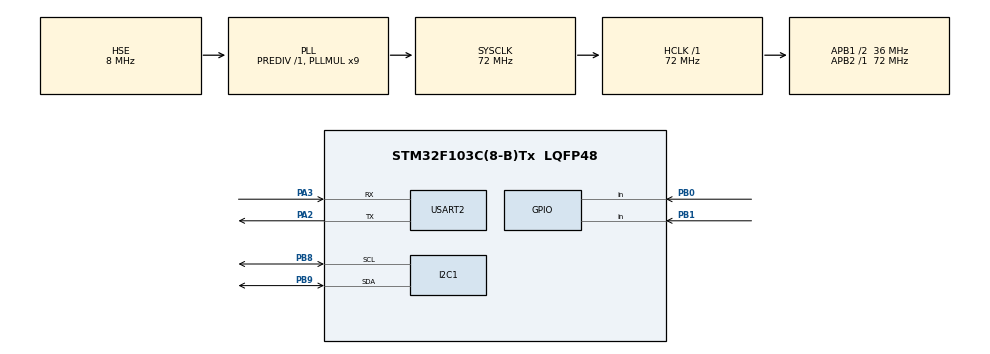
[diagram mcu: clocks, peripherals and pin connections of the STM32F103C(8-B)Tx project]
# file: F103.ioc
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Mcu.Family=STM32F1
Mcu.Name=STM32F103C(8-B)Tx
Mcu.Package=LQFP48
NVIC.I2C1_ER_IRQn=true\:0\:0\:false\:false\:true\:true\:true
NVIC.I2C1_EV_IRQn=true\:0\:0\:false\:false\:true\:true\:true
NVIC.PriorityGroup=NVIC_PRIORITYGROUP_4
NVIC.USART2_IRQn=true\:1\:0\:true\:false\:true\:true\:true
PA13.Mode=Serial_Wire
PA13.Signal=SYS_JTMS-SWDIO
PA14.Mode=Serial_Wire
PA14.Signal=SYS_JTCK-SWCLK
PA15.Signal=S_TIM2_CH1_ETR
PA2.Mode=Asynchronous
PA2.Signal=USART2_TX
PA3.Mode=Asynchronous
PA3.Signal=USART2_RX
PA8.Signal=S_TIM1_CH1
PB0.GPIO_PuPd=GPIO_PULLDOWN
PB0.Signal=GPIO_Input
PB1.GPIO_PuPd=GPIO_PULLDOWN
PB1.Signal=GPIO_Input
PB8.Mode=I2C
PB8.Signal=I2C1_SCL
PB9.Mode=I2C
PB9.Signal=I2C1_SDA
PD0-OSC_IN.Mode=HSE-External-Oscillator
PD0-OSC_IN.Signal=RCC_OSC_IN
PD1-OSC_OUT.Mode=HSE-External-Oscillator
PD1-OSC_OUT.Signal=RCC_OSC_OUT
ProjectManager.HeapSize=0x200
ProjectManager.StackSize=0x400
ProjectManager.TargetToolchain=MDK-ARM V5
RCC.AHBFreq_Value=72000000
RCC.APB1CLKDivider=RCC_HCLK_DIV2
RCC.APB1Freq_Value=36000000
RCC.APB1TimFreq_Value=72000000
RCC.APB2Freq_Value=72000000
RCC.APB2TimFreq_Value=72000000
RCC.HCLKFreq_Value=72000000
RCC.PLLMUL=RCC_PLL_MUL9
RCC.PLLSourceVirtual=RCC_PLLSOURCE_HSE
RCC.SYSCLKFreq_VALUE=72000000
RCC.SYSCLKSource=RCC_SYSCLKSOURCE_PLLCLK
RCC.USBFreq_Value=72000000
SH.S_TIM1_CH1.0=TIM1_CH1
SH.S_TIM2_CH1_ETR.0=TIM2_CH1
TIM1.Period=1000
TIM1.Prescaler=71
TIM2.Period=1000
TIM2.Prescaler=71
USART2.VirtualMode=VM_ASYNC
VP_TIM1_VS_ClockSourceINT.Mode=Internal
VP_TIM2_VS_ClockSourceINT.Mode=Internal
board=custom

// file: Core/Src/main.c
/* USER CODE BEGIN Header */
/**
  ******************************************************************************
  * @file           : main.c
  * @brief          : Main program body
  ******************************************************************************
  * @attention
  *
  * <h2><center>&copy; Copyright (c) 2020 STMicroelectronics.
  * All rights reserved.</center></h2>
  *
  * This software component is licensed by ST under BSD 3-Clause license,
  * the "License"; You may not use this file except in compliance with the
  * License. You may obtain a copy of the License at:
  *                        opensource.org/licenses/BSD-3-Clause
  *
  ******************************************************************************
  */
/* USER CODE END Header */
#include "main.h"
#include "i2c.h"
#include "tim.h"
#include "usart.h"
#include "gpio.h"
#include "mpu9250.h"

void SystemClock_Config(void);

/* USER CODE BEGIN 0 */
MPU9250 mpu9250;
int debug = 1;
/* USER CODE END 0 */

int main(void)
{

  /* MCU Configuration--------------------------------------------------------*/

  /* Reset of all peripherals, Initializes the Flash interface and the Systick. */
  HAL_Init();

  /* Configure the system clock */
  SystemClock_Config();

  /* Initialize all configured peripherals */
  MX_GPIO_Init();
  MX_I2C1_Init();
  MX_TIM1_Init();
  MX_TIM2_Init();
  MX_USART2_UART_Init();
  /* USER CODE BEGIN 2 */

	uint8_t whoami=mpu9250.readByte(MPU9250_ADDRESS,WHO_AM_I_MPU9250);

	if(whoami==0x71) //WHO_AM_I should always be 0x68
	{
		HAL_Delay(100);

		mpu9250.resetMPU9250();	//reset registers to default status
		mpu9250.calibrateMPU9250(gyroBias,accelBias);
		HAL_Delay(200);
		mpu9250.initMPU9250();
		mpu9250.initAK8963(magCalibration);
		HAL_Delay(50);
	}
	else
	{
		while(1); //loop forever if communication doesn't work
	}
		mpu9250.getAres();	//get accelerometer sensitivity
		mpu9250.getGres();	//get gyro sensitivity
		mpu9250.getMres();	//get magnetometer sensitivity

		magbias[0]=+470.;		//user environmental x-axis
		magbias[1]=+120.;		//user environmental x-axis
		magbias[2]=+125.;		//user environmental x-axis

	//MPU9250_Init();

  /* USER CODE END 2 */

  /* Infinite loop */
  /* USER CODE BEGIN WHILE */
	debug = 2;
	static int t = 0;
  while (1)
  {
    /* USER CODE END WHILE */
	if(mpu9250.readByte(MPU9250_ADDRESS,INT_STATUS) & 0x01)		//on interrupt, check if data ready interrupt
	{
		mpu9250.readAccelData(accelCount);  //read the x/y/z adc values

		// now we need to calculate the acceleration value into actual value
		ax=(float) accelCount[0]*aRes;
		ay=(float) accelCount[1]*aRes;
		az=(float) accelCount[2]*aRes;

		mpu9250.readGyroData(gyroCount);	//read the x/y/z adc values

		//calculate the gyro value into actual degrees per second
		gx=(float) gyroCount[0]*gRes;
		gy=(float) gyroCount[1]*gRes;
		gz=(float) gyroCount[2]*gRes;

		mpu9250.readMagData(magCount);	//read the x/y/z adc values

		//calculate the magnetometer values in milliGuass
		mx=(float)magCount[0]*mRes*magCalibration[0];
		my=(float)magCount[1]*mRes*magCalibration[1];
		mz=(float)magCount[2]*mRes*magCalibration[2];

		deltat=0.005;
		mpu9250.MahonyQuaternionUpdate(ax,ay,az,gx*PI/180.0f,gy*PI/180.0f,gz*PI/180.0f,mx,my,mz);

		//
		yaw  = atan2(2.0f*(q[1]*q[2]+q[0]*q[3]),q[0]*q[0]+q[1]*q[1]-q[2]*q[2]-q[3]*q[3]);
		pitch=-asin (2.0f*(q[1]*q[3]-q[0]*q[2]));
		roll = atan2(2.0f*(q[0]*q[1]+q[2]*q[3]),q[0]*q[0]-q[1]*q[1]-q[2]*q[2]+q[3]*q[3]);

		//tranform into degrees unit
		pitch*=180.0f/PI;
		yaw*=180.0f/PI;
		yaw-=3.0f; 				//Declination at Danville, california is 13 degrees 48 minutes and 47 seconds on 2014-04-04
		roll*=180.0f/PI;

		HAL_GPIO_TogglePin(GPIOB,GPIO_PIN_1);
		HAL_Delay(50);
		t++;
	}

  }
}

void SystemClock_Config(void)
{
  RCC_OscInitTypeDef RCC_OscInitStruct = {0};
  RCC_ClkInitTypeDef RCC_ClkInitStruct = {0};

  /** Initializes the RCC Oscillators according to the specified parameters
  * in the RCC_OscInitTypeDef structure.
  */
  RCC_OscInitStruct.OscillatorType = RCC_OSCILLATORTYPE_HSE;
  RCC_OscInitStruct.HSEState = RCC_HSE_ON;
  RCC_OscInitStruct.HSEPredivValue = RCC_HSE_PREDIV_DIV1;
  RCC_OscInitStruct.HSIState = RCC_HSI_ON;
  RCC_OscInitStruct.PLL.PLLState = RCC_PLL_ON;
  RCC_OscInitStruct.PLL.PLLSource = RCC_PLLSOURCE_HSE;
  RCC_OscInitStruct.PLL.PLLMUL = RCC_PLL_MUL9;
  if (HAL_RCC_OscConfig(&RCC_OscInitStruct) != HAL_OK)
  {
    Error_Handler();
  }
  /** Initializes the CPU, AHB and APB buses clocks
  */
  RCC_ClkInitStruct.ClockType = RCC_CLOCKTYPE_HCLK|RCC_CLOCKTYPE_SYSCLK
                              |RCC_CLOCKTYPE_PCLK1|RCC_CLOCKTYPE_PCLK2;
  RCC_ClkInitStruct.SYSCLKSource = RCC_SYSCLKSOURCE_PLLCLK;
  RCC_ClkInitStruct.AHBCLKDivider = RCC_SYSCLK_DIV1;
  RCC_ClkInitStruct.APB1CLKDivider = RCC_HCLK_DIV2;
  RCC_ClkInitStruct.APB2CLKDivider = RCC_HCLK_DIV1;

  if (HAL_RCC_ClockConfig(&RCC_ClkInitStruct, FLASH_LATENCY_2) != HAL_OK)
  {
    Error_Handler();
  }
}

void Error_Handler(void)
{
}

/************************ (C) COPYRIGHT STMicroelectronics *****END OF FILE****/
